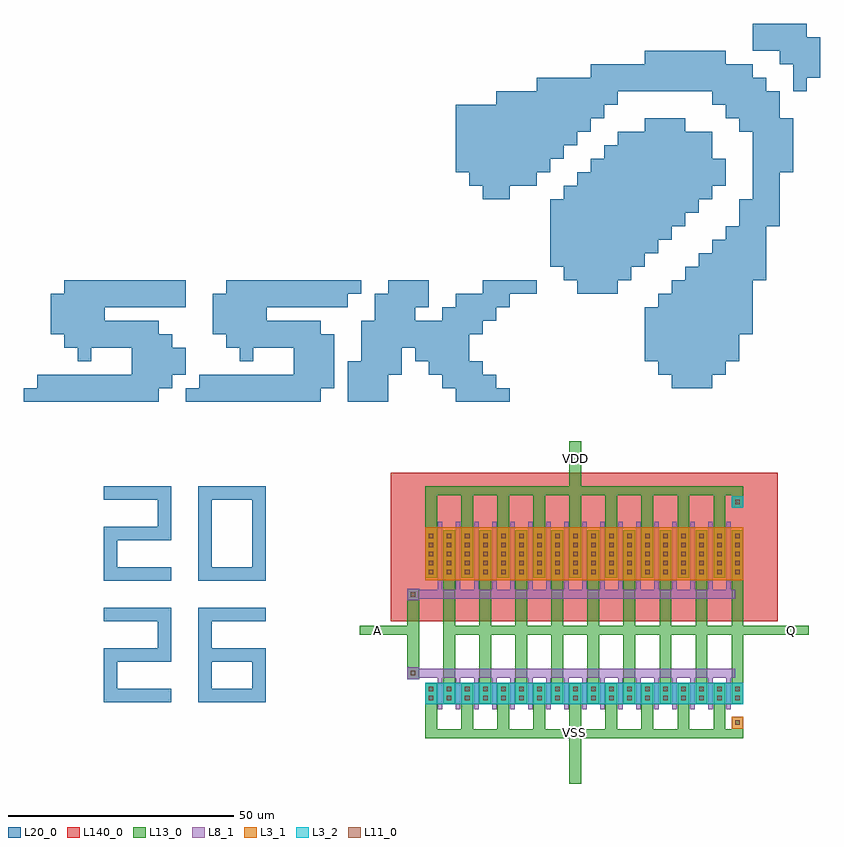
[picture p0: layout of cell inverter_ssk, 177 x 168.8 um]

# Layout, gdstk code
import gdstk
lib = gdstk.Library(unit=1e-6, precision=1e-09)
def R(c, l, rs):  # rectangles x0, y0, x1, y1
    for r in rs: c.add(gdstk.rectangle(r[:2], r[2:], *l))
def A(c, l, x, y, w, h, nx, ny, dx, dy):  # array of equal rectangles
    R(c, l, [(x+i*dx, y+j*dy, x+i*dx+w, y+j*dy+h) for i in range(nx) for j in range(ny)])
def P(c, l, *ps):  # polygons
    for p in ps: c.add(gdstk.Polygon(p, *l))
L3_1 = (3, 1)
L3_2 = (3, 2)
L8_1 = (8, 1)
L11_0 = (11, 0)
L13_0 = (13, 0)
L20_0 = (20, 0)
L140_0 = (140, 0)

fet_n = lib.new_cell('fet_n')
R(fet_n, L3_2, [(-35.3,-2.35,35.3,2.35)])
A(fet_n, L11_0, -34.5, -1.5, 1, 1, 18, 2, 4, 2)
A(fet_n, L13_0, -35.3, -2.3, 2.6, 4.6, 18, 1, 4, 0)
fet_n.add(gdstk.FlexPath([(0,-3.55),(0,3.55)], 1, ends="flush", simple_path=True, layer=8, datatype=1))  # L8_1
fet_n.add(gdstk.FlexPath([(-4,-3.55),(-4,3.55)], 1, ends="flush", simple_path=True, layer=8, datatype=1))  # L8_1
fet_n.add(gdstk.FlexPath([(4,-3.55),(4,3.55)], 1, ends="flush", simple_path=True, layer=8, datatype=1))  # L8_1
fet_n.add(gdstk.FlexPath([(-8,-3.55),(-8,3.55)], 1, ends="flush", simple_path=True, layer=8, datatype=1))  # L8_1
fet_n.add(gdstk.FlexPath([(8,-3.55),(8,3.55)], 1, ends="flush", simple_path=True, layer=8, datatype=1))  # L8_1
fet_n.add(gdstk.FlexPath([(-12,-3.55),(-12,3.55)], 1, ends="flush", simple_path=True, layer=8, datatype=1))  # L8_1
fet_n.add(gdstk.FlexPath([(12,-3.55),(12,3.55)], 1, ends="flush", simple_path=True, layer=8, datatype=1))  # L8_1
fet_n.add(gdstk.FlexPath([(-16,-3.55),(-16,3.55)], 1, ends="flush", simple_path=True, layer=8, datatype=1))  # L8_1
fet_n.add(gdstk.FlexPath([(16,-3.55),(16,3.55)], 1, ends="flush", simple_path=True, layer=8, datatype=1))  # L8_1
fet_n.add(gdstk.FlexPath([(-20,-3.55),(-20,3.55)], 1, ends="flush", simple_path=True, layer=8, datatype=1))  # L8_1
fet_n.add(gdstk.FlexPath([(20,-3.55),(20,3.55)], 1, ends="flush", simple_path=True, layer=8, datatype=1))  # L8_1
fet_n.add(gdstk.FlexPath([(-24,-3.55),(-24,3.55)], 1, ends="flush", simple_path=True, layer=8, datatype=1))  # L8_1
fet_n.add(gdstk.FlexPath([(24,-3.55),(24,3.55)], 1, ends="flush", simple_path=True, layer=8, datatype=1))  # L8_1
fet_n.add(gdstk.FlexPath([(-28,-3.55),(-28,3.55)], 1, ends="flush", simple_path=True, layer=8, datatype=1))  # L8_1
fet_n.add(gdstk.FlexPath([(28,-3.55),(28,3.55)], 1, ends="flush", simple_path=True, layer=8, datatype=1))  # L8_1
fet_n.add(gdstk.FlexPath([(-32,-3.55),(-32,3.55)], 1, ends="flush", simple_path=True, layer=8, datatype=1))  # L8_1
fet_n.add(gdstk.FlexPath([(32,-3.55),(32,3.55)], 1, ends="flush", simple_path=True, layer=8, datatype=1))  # L8_1

fet_p = lib.new_cell('fet_p')
R(fet_p, L3_1, [(-35.3,-5.9,35.3,5.9)])
A(fet_p, L11_0, -34.5, -4.5, 1, 1, 18, 5, 4, 2)
A(fet_p, L13_0, -35.3, -5.3, 2.6, 10.6, 18, 1, 4, 0)
fet_p.add(gdstk.FlexPath([(0,-7.1),(0,7.1)], 1, ends="flush", simple_path=True, layer=8, datatype=1))  # L8_1
fet_p.add(gdstk.FlexPath([(-4,-7.1),(-4,7.1)], 1, ends="flush", simple_path=True, layer=8, datatype=1))  # L8_1
fet_p.add(gdstk.FlexPath([(4,-7.1),(4,7.1)], 1, ends="flush", simple_path=True, layer=8, datatype=1))  # L8_1
fet_p.add(gdstk.FlexPath([(-8,-7.1),(-8,7.1)], 1, ends="flush", simple_path=True, layer=8, datatype=1))  # L8_1
fet_p.add(gdstk.FlexPath([(8,-7.1),(8,7.1)], 1, ends="flush", simple_path=True, layer=8, datatype=1))  # L8_1
fet_p.add(gdstk.FlexPath([(-12,-7.1),(-12,7.1)], 1, ends="flush", simple_path=True, layer=8, datatype=1))  # L8_1
fet_p.add(gdstk.FlexPath([(12,-7.1),(12,7.1)], 1, ends="flush", simple_path=True, layer=8, datatype=1))  # L8_1
fet_p.add(gdstk.FlexPath([(-16,-7.1),(-16,7.1)], 1, ends="flush", simple_path=True, layer=8, datatype=1))  # L8_1
fet_p.add(gdstk.FlexPath([(16,-7.1),(16,7.1)], 1, ends="flush", simple_path=True, layer=8, datatype=1))  # L8_1
fet_p.add(gdstk.FlexPath([(-20,-7.1),(-20,7.1)], 1, ends="flush", simple_path=True, layer=8, datatype=1))  # L8_1
fet_p.add(gdstk.FlexPath([(20,-7.1),(20,7.1)], 1, ends="flush", simple_path=True, layer=8, datatype=1))  # L8_1
fet_p.add(gdstk.FlexPath([(-24,-7.1),(-24,7.1)], 1, ends="flush", simple_path=True, layer=8, datatype=1))  # L8_1
fet_p.add(gdstk.FlexPath([(24,-7.1),(24,7.1)], 1, ends="flush", simple_path=True, layer=8, datatype=1))  # L8_1
fet_p.add(gdstk.FlexPath([(-28,-7.1),(-28,7.1)], 1, ends="flush", simple_path=True, layer=8, datatype=1))  # L8_1
fet_p.add(gdstk.FlexPath([(28,-7.1),(28,7.1)], 1, ends="flush", simple_path=True, layer=8, datatype=1))  # L8_1
fet_p.add(gdstk.FlexPath([(-32,-7.1),(-32,7.1)], 1, ends="flush", simple_path=True, layer=8, datatype=1))  # L8_1
fet_p.add(gdstk.FlexPath([(32,-7.1),(32,7.1)], 1, ends="flush", simple_path=True, layer=8, datatype=1))  # L8_1

cont_g = lib.new_cell('cont_g')
R(cont_g, L8_1, [(-1.3,-1.3,1.3,1.3)])
R(cont_g, L11_0, [(-0.5,-0.5,0.5,0.5)])
R(cont_g, L13_0, [(-1.3,-1.3,1.3,1.3)])

cont_n = lib.new_cell('cont_n')
R(cont_n, L3_2, [(-1.3,-1.3,1.3,1.3)])
R(cont_n, L11_0, [(-0.5,-0.5,0.5,0.5)])
R(cont_n, L13_0, [(-1.3,-1.3,1.3,1.3)])

cont_p = lib.new_cell('cont_p')
R(cont_p, L3_1, [(-1.3,-1.3,1.3,1.3)])
R(cont_p, L11_0, [(-0.5,-0.5,0.5,0.5)])
R(cont_p, L13_0, [(-1.3,-1.3,1.3,1.3)])

ssk_art = lib.new_cell('SSK_ART')
P(ssk_art, L20_0, [(-57.8,6.8),(-57.8,9.8),(-54.8,9.8),(-54.8,12.8),(-33.8,12.8),(-33.8,18.8),(-42.8,18.8),(-42.8,15.8),(-45.8,15.8),(-45.8,18.8),(-48.8,18.8),(-48.8,21.8),(-51.8,21.8),(-51.8,30.8),(-48.8,30.8),(-48.8,33.8),(-21.8,33.8),(-21.8,27.8),(-39.8,27.8),(-39.8,24.8),(-27.8,24.8),(-27.8,21.8),(-24.8,21.8),(-24.8,18.8),(-21.8,18.8),(-21.8,12.8),(-24.8,12.8),(-24.8,9.8),(-27.8,9.8),(-27.8,6.8)],
  [(-21.8,6.8),(-21.8,9.8),(-18.8,9.8),(-18.8,12.8),(2.2,12.8),(2.2,18.8),(-6.8,18.8),(-6.8,15.8),(-9.8,15.8),(-9.8,18.8),(-12.8,18.8),(-12.8,21.8),(-15.8,21.8),(-15.8,30.8),(-12.8,30.8),(-12.8,33.8),(17.2,33.8),(17.2,30.8),(14.2,30.8),(14.2,27.8),(-3.8,27.8),(-3.8,24.8),(8.2,24.8),(8.2,21.8),(11.2,21.8),(11.2,9.8),(8.2,9.8),(8.2,6.8)],
  [(14.2,6.8),(14.2,15.8),(17.2,15.8),(17.2,24.8),(20.2,24.8),(20.2,30.8),(23.2,30.8),(23.2,33.8),(32.2,33.8),(32.2,27.8),(29.2,27.8),(29.2,24.8),(35.2,24.8),(35.2,27.8),(38.2,27.8),(38.2,30.8),(44.2,30.8),(44.2,33.8),(56.2,33.8),(56.2,30.8),(50.2,30.8),(50.2,27.8),(47.2,27.8),(47.2,24.8),(44.2,24.8),(44.2,21.8),(41.2,21.8),(41.2,15.8),(44.2,15.8),(44.2,12.8),(47.2,12.8),(47.2,9.8),(50.2,9.8),(50.2,6.8),(38.2,6.8),(38.2,9.8),(35.2,9.8),(35.2,12.8),(32.2,12.8),(32.2,15.8),(29.2,15.8),(29.2,18.8),(26.2,18.8),(26.2,12.8),(23.2,12.8),(23.2,6.8)],
  [(65.2,30.8),(65.2,33.8),(62.2,33.8),(62.2,36.8),(59.2,36.8),(59.2,51.8),(62.2,51.8),(62.2,54.8),(65.2,54.8),(65.2,57.8),(68.2,57.8),(68.2,60.8),(71.2,60.8),(71.2,63.8),(74.2,63.8),(74.2,66.8),(80.2,66.8),(80.2,69.8),(89.2,69.8),(89.2,66.8),(95.2,66.8),(95.2,60.8),(98.2,60.8),(98.2,54.8),(95.2,54.8),(95.2,51.8),(92.2,51.8),(92.2,48.8),(89.2,48.8),(89.2,45.8),(86.2,45.8),(86.2,42.8),(83.2,42.8),(83.2,39.8),(80.2,39.8),(80.2,36.8),(77.2,36.8),(77.2,33.8),(74.2,33.8),(74.2,30.8)],
  [(86.2,9.8),(86.2,12.8),(83.2,12.8),(83.2,15.8),(80.2,15.8),(80.2,27.8),(83.2,27.8),(83.2,30.8),(86.2,30.8),(86.2,33.8),(89.2,33.8),(89.2,36.8),(92.2,36.8),(92.2,39.8),(95.2,39.8),(95.2,42.8),(98.2,42.8),(98.2,45.8),(101.2,45.8),(101.2,51.8),(104.2,51.8),(104.2,66.8),(101.2,66.8),(101.2,69.8),(98.2,69.8),(98.2,72.8),(95.2,72.8),(95.2,75.8),(74.2,75.8),(74.2,72.8),(71.2,72.8),(71.2,69.8),(68.2,69.8),(68.2,66.8),(65.2,66.8),(65.2,63.8),(62.2,63.8),(62.2,60.8),(59.2,60.8),(59.2,57.8),(56.2,57.8),(56.2,54.8),(50.2,54.8),(50.2,51.8),(44.2,51.8),(44.2,54.8),(41.2,54.8),(41.2,57.8),(38.2,57.8),(38.2,72.8),(47.2,72.8),(47.2,75.8),(56.2,75.8),(56.2,78.8),(68.2,78.8),(68.2,81.8),(80.2,81.8),(80.2,84.8),(98.2,84.8),(98.2,81.8),(104.2,81.8),(104.2,78.8),(107.2,78.8),(107.2,75.8),(110.2,75.8),(110.2,69.8),(113.2,69.8),(113.2,57.8),(110.2,57.8),(110.2,45.8),(107.2,45.8),(107.2,33.8),(104.2,33.8),(104.2,21.8),(101.2,21.8),(101.2,15.8),(98.2,15.8),(98.2,12.8),(95.2,12.8),(95.2,9.8)],
  [(113.2,75.8),(113.2,81.8),(110.2,81.8),(110.2,84.8),(104.2,84.8),(104.2,90.8),(116.2,90.8),(116.2,87.8),(119.2,87.8),(119.2,78.8),(116.2,78.8),(116.2,75.8)])

digit_2026 = lib.new_cell('DIGIT_2026')
P(digit_2026, L20_0, [(0,0),(0,12),(12,12),(12,18),(0,18),(0,21),(15,21),(15,9),(3,9),(3,3),(15,3),(15,0)],
  [(21,0),(21,9),(24,9),(24,3),(33,3),(33,9),(21,9),(21,21),(36,21),(36,18),(24,18),(24,12),(36,12),(36,0)],
  [(0,27),(0,39),(12,39),(12,45),(0,45),(0,48),(15,48),(15,36),(3,36),(3,30),(15,30),(15,27)],
  [(21,27),(21,45),(24,45),(24,30),(33,30),(33,45),(21,45),(21,48),(36,48),(36,27)])

inverter_ssk = lib.new_cell('inverter_ssk')
A(inverter_ssk, L8_1, -22.75, -8.1, 1, 1.1, 17, 1, 4, 0)
R(inverter_ssk, L8_1, [(-29.55,-27.5,43.25,-25.5), (-23.75,-27.5,43.25,-25.5), (-29.55,-10,43.25,-8), (-23.75,-10,43.25,-8)])
A(inverter_ssk, L13_0, -25.55, -41, 2.6, 8.2, 9, 1, 8, 0)
A(inverter_ssk, L13_0, -21.55, -29.2, 2.6, 11.2, 9, 2, 8, 13.2)
A(inverter_ssk, L13_0, -25.55, 4.8, 2.6, 10.2, 9, 1, 8, 0)
R(inverter_ssk, L13_0, [(6.45,-51,9.05,-40.5), (-25.55,-41,45.05,-39), (42.45,-41,45.05,-36.2), (-29.55,-26.5,-26.95,-9), (-40.15,-18,-26.95,-16), (-21.55,-18,59.65,-16), (42.45,10.2,45.05,15), (-25.55,13,45.05,15), (6.45,13,9.05,25)])
R(inverter_ssk, L140_0, [(-33.25,-15,52.75,18)])
inverter_ssk.add(gdstk.Reference(fet_n, (9.75,-31)))
inverter_ssk.add(gdstk.Reference(fet_p, (9.75,0)))
inverter_ssk.add(gdstk.Reference(cont_g, (-28.25,-9)))
inverter_ssk.add(gdstk.Reference(cont_g, (-28.25,-26.5)))
inverter_ssk.add(gdstk.Reference(cont_n, (43.75,11.5)))
inverter_ssk.add(gdstk.Reference(cont_p, (43.75,-37.5)))
inverter_ssk.add(gdstk.Reference(ssk_art, (-57,27)))
inverter_ssk.add(gdstk.Reference(digit_2026, (-97,-33)))
inverter_ssk.add(gdstk.Label('VDD', (7.825,21.175), layer=48, texttype=0))
inverter_ssk.add(gdstk.Label('A', (-36.145,-16.965), layer=48, texttype=0))
inverter_ssk.add(gdstk.Label('Q', (55.825,-17.09), layer=48, texttype=0))
inverter_ssk.add(gdstk.Label('VSS', (7.515,-39.635), layer=48, texttype=0))

lib.write_gds('inverter_ssk.gds')
